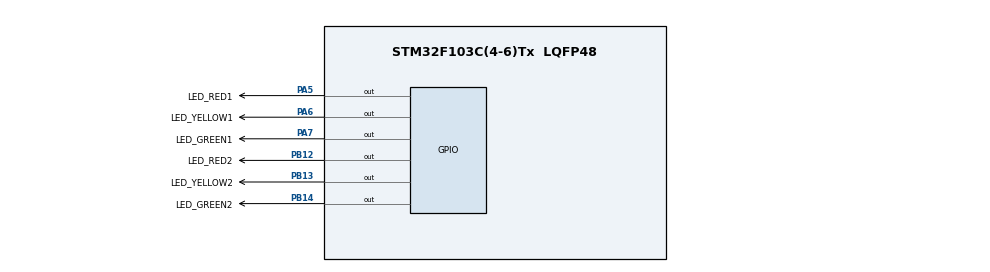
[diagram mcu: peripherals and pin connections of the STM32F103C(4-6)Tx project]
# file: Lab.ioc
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Mcu.Family=STM32F1
Mcu.Name=STM32F103C(4-6)Tx
Mcu.Package=LQFP48
NVIC.PriorityGroup=NVIC_PRIORITYGROUP_4
PA5.GPIO_Label=LED_RED1
PA5.Signal=GPIO_Output
PA6.GPIO_Label=LED_YELLOW1
PA6.Signal=GPIO_Output
PA7.GPIO_Label=LED_GREEN1
PA7.Signal=GPIO_Output
PB12.GPIO_Label=LED_RED2
PB12.Signal=GPIO_Output
PB13.GPIO_Label=LED_YELLOW2
PB13.Signal=GPIO_Output
PB14.GPIO_Label=LED_GREEN2
PB14.Signal=GPIO_Output
ProjectManager.HeapSize=0x200
ProjectManager.StackSize=0x400
ProjectManager.TargetToolchain=STM32CubeIDE
RCC.APB1Freq_Value=8000000
RCC.APB2Freq_Value=8000000
board=custom

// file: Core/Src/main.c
/* USER CODE BEGIN Header */
/**
  ******************************************************************************
  * @file           : main.c
  * @brief          : Main program body
  ******************************************************************************
  * @attention
  *
  * Copyright (c) 2025 STMicroelectronics.
  * All rights reserved.
  *
  * This software is licensed under terms that can be found in the LICENSE file
  * in the root directory of this software component.
  * If no LICENSE file comes with this software, it is provided AS-IS.
  *
  ******************************************************************************
  */
/* USER CODE END Header */
#include "main.h"

void SystemClock_Config(void);
static void MX_GPIO_Init(void);

int main(void)
{

  /* MCU Configuration--------------------------------------------------------*/

  /* Reset of all peripherals, Initializes the Flash interface and the Systick. */
  HAL_Init();

  /* Configure the system clock */
  SystemClock_Config();

  /* Initialize all configured peripherals */
  MX_GPIO_Init();

  /* Infinite loop */
  /* USER CODE BEGIN WHILE */
  int count = 10;
      int count1 = 5;
      int count2 = 3;
      int red1 = 0, yellow1 = 0, green1 = 0, red2 = 0, yellow2 = 0, green2 = 0;

      while(1)
      {
    /* USER CODE END WHILE */

    /* USER CODE BEGIN 3 */
          if(count == 10)
          {
              red1 = green2 = 1;
              red2 = yellow1 = green1 = yellow2 = 0;

              HAL_GPIO_WritePin(GPIOA, LED_RED1_Pin, RESET);
              HAL_GPIO_WritePin(GPIOA, LED_YELLOW1_Pin, SET);
              HAL_GPIO_WritePin(GPIOA, LED_GREEN1_Pin, SET);

              HAL_GPIO_WritePin(GPIOB, LED_RED2_Pin, SET);
              HAL_GPIO_WritePin(GPIOB, LED_YELLOW2_Pin, SET);
              HAL_GPIO_WritePin(GPIOB, LED_GREEN2_Pin, RESET);
          }
          else if(count == 7)
          {
              yellow2 = 1;
              red2 = green2 = 0;
              HAL_GPIO_WritePin(GPIOB, LED_RED2_Pin, SET);
              HAL_GPIO_WritePin(GPIOB, LED_YELLOW2_Pin, RESET);
              HAL_GPIO_WritePin(GPIOB, LED_GREEN2_Pin, SET);
          }
          else if(count == 5)
          {
              green1 = red2 = 1;
              red1 = yellow1 = yellow2 = green2 = 0;
              HAL_GPIO_WritePin(GPIOA, LED_YELLOW1_Pin, SET);
              HAL_GPIO_WritePin(GPIOA, LED_RED1_Pin, SET);
              HAL_GPIO_WritePin(GPIOA, LED_GREEN1_Pin, RESET);

              HAL_GPIO_WritePin(GPIOB, LED_YELLOW2_Pin, SET);
              HAL_GPIO_WritePin(GPIOB, LED_RED2_Pin, RESET);
              HAL_GPIO_WritePin(GPIOB, LED_GREEN2_Pin, SET);
          }
          else if(count == 2)
          {
              yellow1 = 1;
              red1 = green1 = 0;

              HAL_GPIO_WritePin(GPIOA, LED_YELLOW1_Pin, RESET);
              HAL_GPIO_WritePin(GPIOA, LED_RED1_Pin, SET);
              HAL_GPIO_WritePin(GPIOA, LED_GREEN1_Pin, SET);
          }

          // display7SEG1(count--);
          count--;
          // display7SEG1(count1--);
          // display7SEG2(count2--);
          // if(count1 == 0)
          // {
          //     if(red1)
          //         count1 = 3;
          //     if(green1)
          //         count1 = 2;
          //     if(yellow1)
          //         count1 = 5;
          // }

          // if(count2 == 0)
          // {
          //     if(red2)
          //         count2 = 3;
          //     if(green2)
          //         count2 = 2;
          //     if(yellow2)
          //         count2 = 5;
          // }
          if(count == 0)
              count = 10;
          HAL_Delay(1000);
      }
  /* USER CODE END 3 */
}

void SystemClock_Config(void)
{
  RCC_OscInitTypeDef RCC_OscInitStruct = {0};
  RCC_ClkInitTypeDef RCC_ClkInitStruct = {0};

  /** Initializes the RCC Oscillators according to the specified parameters
  * in the RCC_OscInitTypeDef structure.
  */
  RCC_OscInitStruct.OscillatorType = RCC_OSCILLATORTYPE_HSI;
  RCC_OscInitStruct.HSIState = RCC_HSI_ON;
  RCC_OscInitStruct.HSICalibrationValue = RCC_HSICALIBRATION_DEFAULT;
  RCC_OscInitStruct.PLL.PLLState = RCC_PLL_NONE;
  if (HAL_RCC_OscConfig(&RCC_OscInitStruct) != HAL_OK)
  {
    Error_Handler();
  }

  /** Initializes the CPU, AHB and APB buses clocks
  */
  RCC_ClkInitStruct.ClockType = RCC_CLOCKTYPE_HCLK|RCC_CLOCKTYPE_SYSCLK
                              |RCC_CLOCKTYPE_PCLK1|RCC_CLOCKTYPE_PCLK2;
  RCC_ClkInitStruct.SYSCLKSource = RCC_SYSCLKSOURCE_HSI;
  RCC_ClkInitStruct.AHBCLKDivider = RCC_SYSCLK_DIV1;
  RCC_ClkInitStruct.APB1CLKDivider = RCC_HCLK_DIV1;
  RCC_ClkInitStruct.APB2CLKDivider = RCC_HCLK_DIV1;

  if (HAL_RCC_ClockConfig(&RCC_ClkInitStruct, FLASH_LATENCY_0) != HAL_OK)
  {
    Error_Handler();
  }
}

static void MX_GPIO_Init(void)
{
  GPIO_InitTypeDef GPIO_InitStruct = {0};

  /* GPIO Ports Clock Enable */
  __HAL_RCC_GPIOA_CLK_ENABLE();
  __HAL_RCC_GPIOB_CLK_ENABLE();

  /*Configure GPIO pin Output Level */
  HAL_GPIO_WritePin(GPIOA, LED_RED1_Pin|LED_YELLOW1_Pin|LED_GREEN1_Pin, GPIO_PIN_RESET);

  /*Configure GPIO pin Output Level */
  HAL_GPIO_WritePin(GPIOB, LED_RED2_Pin|LED_YELLOW2_Pin|LED_GREEN2_Pin, GPIO_PIN_RESET);

  /*Configure GPIO pins : LED_RED1_Pin LED_YELLOW1_Pin LED_GREEN1_Pin */
  GPIO_InitStruct.Pin = LED_RED1_Pin|LED_YELLOW1_Pin|LED_GREEN1_Pin;
  GPIO_InitStruct.Mode = GPIO_MODE_OUTPUT_PP;
  GPIO_InitStruct.Pull = GPIO_NOPULL;
  GPIO_InitStruct.Speed = GPIO_SPEED_FREQ_LOW;
  HAL_GPIO_Init(GPIOA, &GPIO_InitStruct);

  /*Configure GPIO pins : LED_RED2_Pin LED_YELLOW2_Pin LED_GREEN2_Pin */
  GPIO_InitStruct.Pin = LED_RED2_Pin|LED_YELLOW2_Pin|LED_GREEN2_Pin;
  GPIO_InitStruct.Mode = GPIO_MODE_OUTPUT_PP;
  GPIO_InitStruct.Pull = GPIO_NOPULL;
  GPIO_InitStruct.Speed = GPIO_SPEED_FREQ_LOW;
  HAL_GPIO_Init(GPIOB, &GPIO_InitStruct);

}

void Error_Handler(void)
{
  __disable_irq();
  while (1)
  {
  }
}
